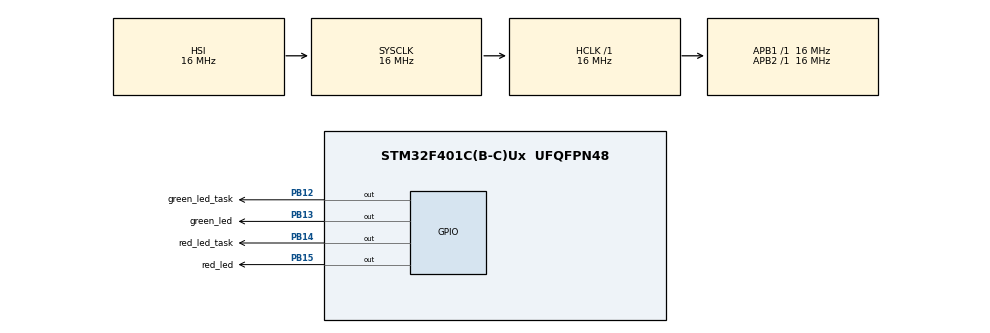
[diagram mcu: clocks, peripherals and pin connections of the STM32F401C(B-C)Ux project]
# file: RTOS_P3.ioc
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FREERTOS.Tasks01=defaultTask,24,128,StartDefaultTask,Default,NULL,Dynamic,NULL,NULL;FlashGreenLedTa,24,128,FlashGreenTask,Default,NULL,Dynamic,NULL,NULL;FlashRedLedTask,32,128,FlashRedTask,Default,NULL,Dynamic,NULL,NULL
FREERTOS.configUSE_NEWLIB_REENTRANT=1
Mcu.Family=STM32F4
Mcu.Name=STM32F401C(B-C)Ux
Mcu.Package=UFQFPN48
NVIC.PriorityGroup=NVIC_PRIORITYGROUP_4
PA13.Mode=Serial_Wire
PA13.Signal=SYS_JTMS-SWDIO
PA14.Mode=Serial_Wire
PA14.Signal=SYS_JTCK-SWCLK
PB12.GPIO_Label=green_led_task
PB12.Signal=GPIO_Output
PB13.GPIO_Label=green_led
PB13.Signal=GPIO_Output
PB14.GPIO_Label=red_led_task
PB14.Signal=GPIO_Output
PB15.GPIO_Label=red_led
PB15.Signal=GPIO_Output
ProjectManager.HeapSize=0x200
ProjectManager.StackSize=0x400
ProjectManager.TargetToolchain=STM32CubeIDE
RCC.AHBFreq_Value=16000000
RCC.APB1Freq_Value=16000000
RCC.APB2Freq_Value=16000000
RCC.CortexFreq_Value=16000000
RCC.HSE_VALUE=25000000
RCC.HSI_VALUE=16000000
RCC.LSE_VALUE=32768
RCC.SYSCLKFreq_VALUE=16000000
RCC.VCOOutputFreq_Value=192000000
VP_FREERTOS_VS_CMSIS_V2.Mode=CMSIS_V2
board=custom

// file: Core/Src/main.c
/* USER CODE BEGIN Header */
/**
  ******************************************************************************
  * @file           : main.c
  * @brief          : Main program body
  ******************************************************************************
  * @attention
  *
  * Copyright (c) 2024 STMicroelectronics.
  * All rights reserved.
  *
  * This software is licensed under terms that can be found in the LICENSE file
  * in the root directory of this software component.
  * If no LICENSE file comes with this software, it is provided AS-IS.
  *
  ******************************************************************************
  */
/* USER CODE END Header */
#include "main.h"
#include "cmsis_os.h"

/* Definitions for defaultTask */
osThreadId_t defaultTaskHandle;
const osThreadAttr_t defaultTask_attributes = {
  .name = "defaultTask",
  .stack_size = 128 * 4,
  .priority = (osPriority_t) osPriorityNormal,
};
/* Definitions for FlashGreenLedTa */
osThreadId_t FlashGreenLedTaHandle;
const osThreadAttr_t FlashGreenLedTa_attributes = {
  .name = "FlashGreenLedTa",
  .stack_size = 128 * 4,
  .priority = (osPriority_t) osPriorityNormal,
};
/* Definitions for FlashRedLedTask */
osThreadId_t FlashRedLedTaskHandle;
const osThreadAttr_t FlashRedLedTask_attributes = {
  .name = "FlashRedLedTask",
  .stack_size = 128 * 4,
  .priority = (osPriority_t) osPriorityAboveNormal,
};

void SystemClock_Config(void);
static void MX_GPIO_Init(void);
void StartDefaultTask(void *argument);
void FlashGreenTask(void *argument);
void FlashRedTask(void *argument);

int main(void)
{

  /* MCU Configuration--------------------------------------------------------*/

  /* Reset of all peripherals, Initializes the Flash interface and the Systick. */
  HAL_Init();

  /* Configure the system clock */
  SystemClock_Config();

  /* Initialize all configured peripherals */
  MX_GPIO_Init();

  /* Init scheduler */
  osKernelInitialize();

  /* Create the thread(s) */
  /* creation of defaultTask */
  defaultTaskHandle = osThreadNew(StartDefaultTask, NULL, &defaultTask_attributes);

  /* creation of FlashGreenLedTa */
  FlashGreenLedTaHandle = osThreadNew(FlashGreenTask, NULL, &FlashGreenLedTa_attributes);

  /* creation of FlashRedLedTask */
  FlashRedLedTaskHandle = osThreadNew(FlashRedTask, NULL, &FlashRedLedTask_attributes);

  /* Start scheduler */
  osKernelStart();

  /* We should never get here as control is now taken by the scheduler */

  /* Infinite loop */
  while (1)
  {

  }
}

void SystemClock_Config(void)
{
  RCC_OscInitTypeDef RCC_OscInitStruct = {0};
  RCC_ClkInitTypeDef RCC_ClkInitStruct = {0};

  /** Configure the main internal regulator output voltage
  */
  __HAL_RCC_PWR_CLK_ENABLE();
  __HAL_PWR_VOLTAGESCALING_CONFIG(PWR_REGULATOR_VOLTAGE_SCALE2);

  /** Initializes the RCC Oscillators according to the specified parameters
  * in the RCC_OscInitTypeDef structure.
  */
  RCC_OscInitStruct.OscillatorType = RCC_OSCILLATORTYPE_HSI;
  RCC_OscInitStruct.HSIState = RCC_HSI_ON;
  RCC_OscInitStruct.HSICalibrationValue = RCC_HSICALIBRATION_DEFAULT;
  RCC_OscInitStruct.PLL.PLLState = RCC_PLL_NONE;
  if (HAL_RCC_OscConfig(&RCC_OscInitStruct) != HAL_OK)
  {
    Error_Handler();
  }

  /** Initializes the CPU, AHB and APB buses clocks
  */
  RCC_ClkInitStruct.ClockType = RCC_CLOCKTYPE_HCLK|RCC_CLOCKTYPE_SYSCLK
                              |RCC_CLOCKTYPE_PCLK1|RCC_CLOCKTYPE_PCLK2;
  RCC_ClkInitStruct.SYSCLKSource = RCC_SYSCLKSOURCE_HSI;
  RCC_ClkInitStruct.AHBCLKDivider = RCC_SYSCLK_DIV1;
  RCC_ClkInitStruct.APB1CLKDivider = RCC_HCLK_DIV1;
  RCC_ClkInitStruct.APB2CLKDivider = RCC_HCLK_DIV1;

  if (HAL_RCC_ClockConfig(&RCC_ClkInitStruct, FLASH_LATENCY_0) != HAL_OK)
  {
    Error_Handler();
  }
}

static void MX_GPIO_Init(void)
{
  GPIO_InitTypeDef GPIO_InitStruct = {0};

  /* GPIO Ports Clock Enable */
  __HAL_RCC_GPIOB_CLK_ENABLE();
  __HAL_RCC_GPIOA_CLK_ENABLE();

  /*Configure GPIO pin Output Level */
  HAL_GPIO_WritePin(GPIOB, green_led_task_Pin|green_led_Pin|red_led_task_Pin|red_led_Pin, GPIO_PIN_RESET);

  /*Configure GPIO pins : green_led_task_Pin green_led_Pin red_led_task_Pin red_led_Pin */
  GPIO_InitStruct.Pin = green_led_task_Pin|green_led_Pin|red_led_task_Pin|red_led_Pin;
  GPIO_InitStruct.Mode = GPIO_MODE_OUTPUT_PP;
  GPIO_InitStruct.Pull = GPIO_NOPULL;
  GPIO_InitStruct.Speed = GPIO_SPEED_FREQ_LOW;
  HAL_GPIO_Init(GPIOB, &GPIO_InitStruct);

}

void StartDefaultTask(void *argument)
{
  for(;;)
  {
    osDelay(1);
  }
}

void FlashGreenTask(void *argument)
{
  /* USER CODE BEGIN FlashGreenTask */
  /* Infinite loop */
	 for(;;)
	  {
		HAL_GPIO_WritePin(green_led_task_GPIO_Port, green_led_task_Pin, 1);
		HAL_GPIO_WritePin(green_led_GPIO_Port, green_led_Pin, 0);
		for (int var = 0; var < 80; ++var) {
		HAL_GPIO_TogglePin(green_led_GPIO_Port, green_led_Pin);
		HAL_Delay(25);
		HAL_GPIO_TogglePin(green_led_GPIO_Port, green_led_Pin);
		HAL_Delay(25);
		}
	    HAL_GPIO_WritePin(green_led_task_GPIO_Port, green_led_task_Pin, 0);
	    osDelay(6000);
	  }
  /* USER CODE END FlashGreenTask */
}

void FlashRedTask(void *argument)
{
  /* USER CODE BEGIN FlashRedTask */
  /* Infinite loop */
	 for(;;)
	  {
			HAL_GPIO_WritePin(red_led_task_GPIO_Port, red_led_task_Pin, 1);
			HAL_GPIO_WritePin(red_led_GPIO_Port, red_led_Pin, 0);
			for (int var = 0; var < 10; ++var) {
			HAL_GPIO_TogglePin(red_led_GPIO_Port, red_led_Pin);
			HAL_Delay(25);
			HAL_GPIO_TogglePin(red_led_GPIO_Port, red_led_Pin);
			HAL_Delay(25);
			}
		    HAL_GPIO_WritePin(red_led_task_GPIO_Port, red_led_task_Pin, 0);
		    osDelay(1500);
	  }
  /* USER CODE END FlashRedTask */
}

void Error_Handler(void)
{
  __disable_irq();
  while (1)
  {
  }
}
